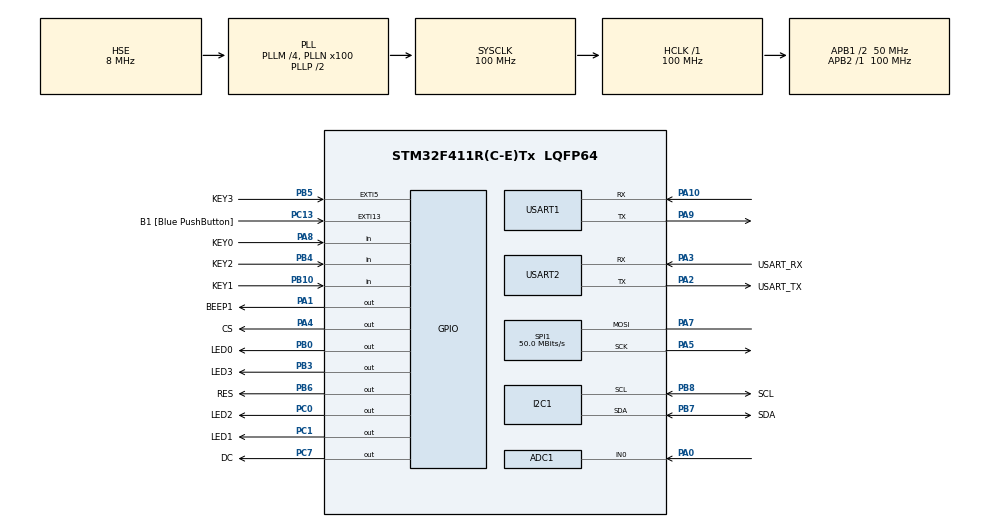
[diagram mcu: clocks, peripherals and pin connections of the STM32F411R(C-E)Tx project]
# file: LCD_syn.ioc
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ADC1.Channel-0\#ChannelRegularConversion=ADC_CHANNEL_0
ADC1.ContinuousConvMode=ENABLE
ADC1.DMAContinuousRequests=ENABLE
ADC1.NbrOfConversion=1
ADC1.NbrOfConversionFlag=1
ADC1.Rank-0\#ChannelRegularConversion=1
ADC1.SamplingTime-0\#ChannelRegularConversion=ADC_SAMPLETIME_3CYCLES
ADC1.ScanConvMode=ENABLE
ADC1.master=1
Dma.ADC1.0.Direction=DMA_PERIPH_TO_MEMORY
Dma.ADC1.0.FIFOMode=DMA_FIFOMODE_DISABLE
Dma.ADC1.0.Instance=DMA2_Stream0
Dma.ADC1.0.MemDataAlignment=DMA_MDATAALIGN_WORD
Dma.ADC1.0.MemInc=DMA_MINC_ENABLE
Dma.ADC1.0.Mode=DMA_CIRCULAR
Dma.ADC1.0.PeriphDataAlignment=DMA_PDATAALIGN_WORD
Dma.ADC1.0.PeriphInc=DMA_PINC_DISABLE
Dma.ADC1.0.Priority=DMA_PRIORITY_LOW
Dma.Request0=ADC1
Dma.Request1=SPI1_TX
Dma.SPI1_TX.1.Direction=DMA_MEMORY_TO_PERIPH
Dma.SPI1_TX.1.FIFOMode=DMA_FIFOMODE_DISABLE
Dma.SPI1_TX.1.Instance=DMA2_Stream2
Dma.SPI1_TX.1.MemDataAlignment=DMA_MDATAALIGN_BYTE
Dma.SPI1_TX.1.MemInc=DMA_MINC_ENABLE
Dma.SPI1_TX.1.Mode=DMA_NORMAL
Dma.SPI1_TX.1.PeriphDataAlignment=DMA_PDATAALIGN_BYTE
Dma.SPI1_TX.1.PeriphInc=DMA_PINC_DISABLE
Dma.SPI1_TX.1.Priority=DMA_PRIORITY_VERY_HIGH
Mcu.Family=STM32F4
Mcu.Name=STM32F411R(C-E)Tx
Mcu.Package=LQFP64
NVIC.DMA2_Stream0_IRQn=true\:0\:0\:false\:false\:true\:false\:true\:true
NVIC.DMA2_Stream2_IRQn=true\:0\:0\:false\:false\:true\:false\:true\:true
NVIC.PriorityGroup=NVIC_PRIORITYGROUP_0
NVIC.SPI1_IRQn=true\:0\:0\:false\:false\:true\:true\:true\:true
PA0-WKUP.Signal=ADCx_IN0
PA1.GPIO_Label=BEEP1
PA1.GPIO_PuPd=GPIO_PULLUP
PA1.Signal=GPIO_Output
PA10.Mode=Asynchronous
PA10.Signal=USART1_RX
PA13.GPIO_Label=TMS
PA13.Mode=Serial_Wire
PA13.Signal=SYS_JTMS-SWDIO
PA14.GPIO_Label=TCK
PA14.Mode=Serial_Wire
PA14.Signal=SYS_JTCK-SWCLK
PA2.GPIO_Label=USART_TX
PA2.Mode=Asynchronous
PA2.Signal=USART2_TX
PA3.GPIO_Label=USART_RX
PA3.Mode=Asynchronous
PA3.Signal=USART2_RX
PA4.GPIO_Label=CS
PA4.GPIO_PuPd=GPIO_NOPULL
PA4.GPIO_Speed=GPIO_SPEED_FREQ_VERY_HIGH
PA4.PinState=GPIO_PIN_RESET
PA4.Signal=GPIO_Output
PA5.Mode=Simplex_Bidirectional_Master
PA5.Signal=SPI1_SCK
PA7.Mode=Simplex_Bidirectional_Master
PA7.Signal=SPI1_MOSI
PA8.GPIO_Label=KEY0
PA8.GPIO_PuPd=GPIO_PULLUP
PA8.Signal=GPIO_Input
PA9.Mode=Asynchronous
PA9.Signal=USART1_TX
PB0.GPIO_Label=LED0
PB0.GPIO_PuPd=GPIO_PULLUP
PB0.Signal=GPIO_Output
PB10.GPIO_Label=KEY1
PB10.GPIO_PuPd=GPIO_PULLUP
PB10.Signal=GPIO_Input
PB3.GPIO_Label=LED3
PB3.GPIO_PuPd=GPIO_PULLUP
PB3.Signal=GPIO_Output
PB4.GPIO_Label=KEY2
PB4.GPIO_PuPd=GPIO_PULLUP
PB4.Signal=GPIO_Input
PB5.GPIO_Label=KEY3
PB5.GPIO_PuPd=GPIO_PULLUP
PB5.Signal=GPXTI5
PB6.GPIO_Label=RES
PB6.GPIO_Speed=GPIO_SPEED_FREQ_VERY_HIGH
PB6.Signal=GPIO_Output
PB7.GPIO_Label=SDA
PB7.Mode=I2C
PB7.Signal=I2C1_SDA
PB8.GPIO_Label=SCL
PB8.Mode=I2C
PB8.Signal=I2C1_SCL
PC0.GPIO_Label=LED2
PC0.GPIO_PuPd=GPIO_PULLUP
PC0.Signal=GPIO_Output
PC1.GPIO_Label=LED1
PC1.GPIO_PuPd=GPIO_PULLUP
PC1.Signal=GPIO_Output
PC13-ANTI_TAMP.GPIO_Label=B1 [Blue PushButton]
PC13-ANTI_TAMP.GPIO_ModeDefaultEXTI=GPIO_MODE_IT_FALLING
PC13-ANTI_TAMP.Signal=GPXTI13
PC14-OSC32_IN.Mode=LSE-External-Oscillator
PC14-OSC32_IN.Signal=RCC_OSC32_IN
PC15-OSC32_OUT.Mode=LSE-External-Oscillator
PC15-OSC32_OUT.Signal=RCC_OSC32_OUT
PC7.GPIO_Label=DC
PC7.GPIO_Speed=GPIO_SPEED_FREQ_VERY_HIGH
PC7.Signal=GPIO_Output
PH0\ -\ OSC_IN.Mode=HSE-External-Clock-Source
PH0\ -\ OSC_IN.Signal=RCC_OSC_IN
PH1\ -\ OSC_OUT.Mode=HSE-External-Clock-Source
PH1\ -\ OSC_OUT.Signal=RCC_OSC_OUT
ProjectManager.HeapSize=0x200
ProjectManager.StackSize=0x400
ProjectManager.TargetToolchain=MDK-ARM V5.32
RCC.48MHZClocksFreq_Value=50000000
RCC.AHBFreq_Value=100000000
RCC.APB1CLKDivider=RCC_HCLK_DIV2
RCC.APB1Freq_Value=50000000
RCC.APB1TimFreq_Value=100000000
RCC.APB2Freq_Value=100000000
RCC.APB2TimFreq_Value=100000000
RCC.CortexFreq_Value=100000000
RCC.FLatency-AdvancedSettings=FLASH_LATENCY_3
RCC.HCLKFreq_Value=100000000
RCC.HSE_VALUE=8000000
RCC.HSI_VALUE=16000000
RCC.PLLM=4
RCC.PLLN=100
RCC.PLLSourceVirtual=RCC_PLLSOURCE_HSE
RCC.SYSCLKFreq_VALUE=100000000
RCC.SYSCLKSource=RCC_SYSCLKSOURCE_PLLCLK
RCC.VCOOutputFreq_Value=200000000
SH.ADCx_IN0.0=ADC1_IN0,IN0
SPI1.CalculateBaudRate=50.0 MBits/s
SPI1.DataSize=SPI_DATASIZE_8BIT
SPI1.Direction=SPI_DIRECTION_1LINE
SPI1.Mode=SPI_MODE_MASTER
SPI1.VirtualType=VM_MASTER
USART1.VirtualMode=VM_ASYNC
USART2.VirtualMode=VM_ASYNC
board=NUCLEO-F411RE

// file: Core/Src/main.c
/* USER CODE BEGIN Header */
/**
  ******************************************************************************
  * @file           : main.c
  * @brief          : Main program body
  ******************************************************************************
  * @attention
  *
  * Copyright (c) 2023 STMicroelectronics.
  * All rights reserved.
  *
  * This software is licensed under terms that can be found in the LICENSE file
  * in the root directory of this software component.
  * If no LICENSE file comes with this software, it is provided AS-IS.
  *
  ******************************************************************************
  */
/* USER CODE END Header */
#include "main.h"
#include "adc.h"
#include "dma.h"
#include "i2c.h"
#include "spi.h"
#include "usart.h"
#include "gpio.h"

/* USER CODE BEGIN Includes */
#include "ST7789_Driver.h"
#include "ILI9341_Driver.h"
#include "example.h"
#include "stdio.h"
/* USER CODE END Includes */

/* USER CODE BEGIN PV */
uint16_t timer = 0;
uint8_t second = 25;
char timer_str[14];
uint8_t change = 0;
uint8_t draw = 0;
uint16_t delay_ms = 0;
/* USER CODE END PV */

void SystemClock_Config(void);

int main(void)
{

  /* MCU Configuration--------------------------------------------------------*/

  /* Reset of all peripherals, Initializes the Flash interface and the Systick. */
  HAL_Init();

  /* Configure the system clock */
  SystemClock_Config();

  /* Initialize all configured peripherals */
  MX_GPIO_Init();
  MX_DMA_Init();
  MX_USART2_UART_Init();
  MX_SPI1_Init();
  MX_USART1_UART_Init();
  MX_ADC1_Init();
  MX_I2C1_Init();
  /* USER CODE BEGIN 2 */
	ST7789_Init();
//	ILI9341_Fill_Screen(BLUE);
//	ILI9341_Fill_Screen(WHITE);
//	ILI9341_Fill_Screen(RED);
//	ILI9341_Fill_Screen(BLUE);
//	ILI9341_Fill_Screen(WHITE);
//	ILI9341_Fill_Screen(RED);

	ST7789_Fill_Screen(BLUE);
	HAL_Delay(1000);
	ST7789_Fill_Screen(WHITE);
	HAL_Delay(1000);
	ST7789_Fill_Screen(RED);
//	LCD_Fill(0,0,120,160,RED);
//	for(uint16_t i = 0; i <= 10; i++)
//	{
//		ST7789_Draw_Hollow_Circle(120,140,10*i,WHITE);
//		HAL_Delay(100);
//		ST7789_Draw_Hollow_Circle(120,140,10*(i-4),WHITE);
//	}

//	ILI9341_Fill_Screen(BLUE);

//	LCD_Display_String(20,20,"ID: 2038010061",WHITE,BLUE);
//	LCD_Display_String(20,40,"Embedded system Lab 4",WHITE,BLUE);

  /* USER CODE END 2 */

  /* Infinite loop */
  /* USER CODE BEGIN WHILE */
  while (1)
  {
//	  ST7789_Write_Command(0xaa);
//	  ST7789_Write_Command(0x00);
//	  ST7789_Write_Command(0x00);
//	  ST7789_Write_Command(0x00);
//	  ST7789_Write_Command(0x00);
//	  ST7789_Write_Data(0xaa);
////	  HAL_Delay(100);
//	  sprintf(timer_str,"Time left: %d s   ", second);
//	  LCD_Display_String(20,60,timer_str,RED,WHITE);
//	  if(change == 1 || change == 3 || change == 5)
//		  LCD_Fill(0,80,240,40,RED);
//	  else
//		  LCD_Fill(0,80,240,40,BLUE);
//	  switch(draw)
//	  {
//		  case 1:
//			  LCD_Fill(0,120,240,400,BLUE);
//			  ST7789_Draw_Hollow_Circle(120,190,50,WHITE); break;
//		  case 2:
//			  LCD_Fill(0,120,240,400,BLUE);
//			  draw_square(80, 150, 100, WHITE); break;
//		  case 3:
//			  LCD_Fill(0,120,240,400,BLUE);
//			  ST7789_Draw_Hollow_Triangle(60, 150, 100, 240, 170, 150, WHITE); break;
//		  case 4:
//			  LCD_Fill(0,120,240,400,BLUE); break;
//	  }
    /* USER CODE END WHILE */

  }
}

void SystemClock_Config(void)
{
  RCC_OscInitTypeDef RCC_OscInitStruct = {0};
  RCC_ClkInitTypeDef RCC_ClkInitStruct = {0};

  /** Configure the main internal regulator output voltage
  */
  __HAL_RCC_PWR_CLK_ENABLE();
  __HAL_PWR_VOLTAGESCALING_CONFIG(PWR_REGULATOR_VOLTAGE_SCALE1);

  /** Initializes the RCC Oscillators according to the specified parameters
  * in the RCC_OscInitTypeDef structure.
  */
  RCC_OscInitStruct.OscillatorType = RCC_OSCILLATORTYPE_HSE;
  RCC_OscInitStruct.HSEState = RCC_HSE_BYPASS;
  RCC_OscInitStruct.PLL.PLLState = RCC_PLL_ON;
  RCC_OscInitStruct.PLL.PLLSource = RCC_PLLSOURCE_HSE;
  RCC_OscInitStruct.PLL.PLLM = 4;
  RCC_OscInitStruct.PLL.PLLN = 100;
  RCC_OscInitStruct.PLL.PLLP = RCC_PLLP_DIV2;
  RCC_OscInitStruct.PLL.PLLQ = 4;
  if (HAL_RCC_OscConfig(&RCC_OscInitStruct) != HAL_OK)
  {
    Error_Handler();
  }

  /** Initializes the CPU, AHB and APB buses clocks
  */
  RCC_ClkInitStruct.ClockType = RCC_CLOCKTYPE_HCLK|RCC_CLOCKTYPE_SYSCLK
                              |RCC_CLOCKTYPE_PCLK1|RCC_CLOCKTYPE_PCLK2;
  RCC_ClkInitStruct.SYSCLKSource = RCC_SYSCLKSOURCE_PLLCLK;
  RCC_ClkInitStruct.AHBCLKDivider = RCC_SYSCLK_DIV1;
  RCC_ClkInitStruct.APB1CLKDivider = RCC_HCLK_DIV2;
  RCC_ClkInitStruct.APB2CLKDivider = RCC_HCLK_DIV1;

  if (HAL_RCC_ClockConfig(&RCC_ClkInitStruct, FLASH_LATENCY_3) != HAL_OK)
  {
    Error_Handler();
  }
}

/* USER CODE BEGIN 4 */
//void HAL_SYSTICK_Callback()
//{
//	if(timer < 1000)
//		timer++;
//	else
//	{
//		timer = 0;
//		if(second > 0)
//		{
//			second--;
//			if(second == 5) change = 1;
//			else if(second == 4) change = 2;
//			else if(second == 3) change = 3;
//			else if(second == 2) change = 4;
//			else if(second == 1) change = 5;
//			else change = 0;
//		}
//		else
//		{
//			second = 24;
//		}
//	}
//	delay_ms++;
//	if(HAL_GPIO_ReadPin(KEY0_GPIO_Port,KEY0_Pin) == 0)
//	{
//		if(delay_ms > 20)
//		{
//			delay_ms = 0;
//			if(HAL_GPIO_ReadPin(KEY0_GPIO_Port,KEY0_Pin) == 0)
//				draw = 1;
//		}
//	}
//	else if(HAL_GPIO_ReadPin(KEY1_GPIO_Port,KEY1_Pin) == 0)
//	{
//		if(delay_ms > 20)
//		{
//			delay_ms = 0;
//			if(HAL_GPIO_ReadPin(KEY1_GPIO_Port,KEY1_Pin) == 0)
//				draw = 2;
//		}
//	}
//	else if(HAL_GPIO_ReadPin(KEY2_GPIO_Port,KEY2_Pin) == 0)
//	{
//		if(delay_ms > 20)
//		{
//			delay_ms = 0;
//			if(HAL_GPIO_ReadPin(KEY2_GPIO_Port,KEY2_Pin) == 0)
//				draw = 3;
//		}
//	}
//	else if(HAL_GPIO_ReadPin(KEY3_GPIO_Port,KEY3_Pin) == 0)
//	{
//		if(delay_ms > 20)
//		{
//			delay_ms = 0;
//			if(HAL_GPIO_ReadPin(KEY3_GPIO_Port,KEY3_Pin) == 0)
//				draw = 4;
//		}
//	}
//	else draw = 0;
//}
/* USER CODE END 4 */

void Error_Handler(void)
{
  __disable_irq();
  while (1)
  {
  }
}
